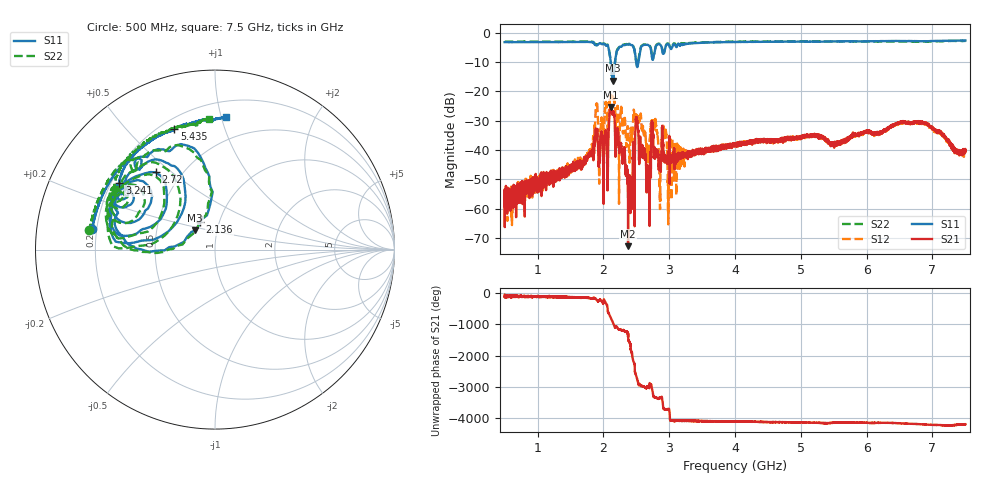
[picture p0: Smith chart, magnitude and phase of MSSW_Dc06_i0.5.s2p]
!Keysight Technologies,M9374A,MY55442783,A.12.55.05
!Date: Thursday, May 20, 2021 12:46:55
!Correction: S11(Full 2 Port(1,2))
!S21(Full 2 Port(1,2))
!S12(Full 2 Port(1,2))
!S22(Full 2 Port(1,2))
!S2P File: Measurements: S11, S21, S12, S22:
# Hz S  RI  R 50
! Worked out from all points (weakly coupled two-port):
!   7001 points, 500 MHz to 7.5 GHz, reference 50 ohm
!   highest |S21| = -25.29 dB at 2.112 GHz (marker M1); lowest = -72.7 dB at 2.375 GHz (marker M2)
!   lowest |S11| = -16.3 dB at 2.145 GHz (marker M3), VSWR 1.36, Z = 39.3 + j8.61 ohm
!   |S11| at or under -10 dB: 2.112 GHz to 2.177 GHz (64.74 MHz wide, 3.02 % of centre); 2.499 GHz to 2.532 GHz (32.76 MHz wide, 1.3 % of centre)
!   |S22| runs from -16.9 to -2.7 dB; largest |S21 - S12| = 0.075
!   S11 on the Smith chart (normalised r, x): 500 MHz: 0.18, +0.08; 2.136 GHz: 0.81, +0.26; 2.72 GHz: 0.36, +0.44; 3.241 GHz: 0.23, +0.30; 5.435 GHz: 0.25, +0.69; 7.5 GHz: 0.32, +1.04
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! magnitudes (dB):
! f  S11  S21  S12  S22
! 500 MHz  -3.2  -57.4  -54.1  -3.0
! 1.667 GHz  -3.1  -45.0  -45.0  -3.0
! 1.886 GHz  -4.2  -32.6  -25.1  -4.0
! 2.034 GHz  -4.2  -33.4  -23.8  -4.0
! 2.112 GHz  -9.9  -25.3  -22.0  -9.8
! 2.136 GHz  -15.1  -27.6  -22.4  -15.1
! 2.145 GHz  -16.3  -27.6  -21.9  -16.9
! 2.375 GHz  -4.0  -72.7  -32.4  -3.9
! 2.409 GHz  -4.1  -60.1  -36.3  -3.9
! 2.514 GHz  -11.6  -30.2  -28.2  -11.4
! 2.671 GHz  -4.1  -45.4  -40.5  -4.0
! 2.72 GHz  -5.3  -44.2  -31.5  -5.1
! 2.786 GHz  -5.7  -41.9  -29.5  -5.5
! 2.834 GHz  -3.9  -41.5  -37.7  -3.7
! 2.925 GHz  -6.8  -42.9  -34.5  -6.4
! 3.005 GHz  -4.8  -37.9  -38.5  -4.4
! 3.241 GHz  -3.7  -41.1  -40.8  -3.6
! 4 GHz  -3.1  -38.4  -38.3  -3.1
! 5.167 GHz  -3.0  -34.9  -35.3  -2.9
! 5.435 GHz  -3.0  -37.9  -38.0  -3.0
! 6.334 GHz  -2.8  -32.7  -32.3  -3.0
! 7.5 GHz  -2.6  -39.8  -39.7  -2.7
